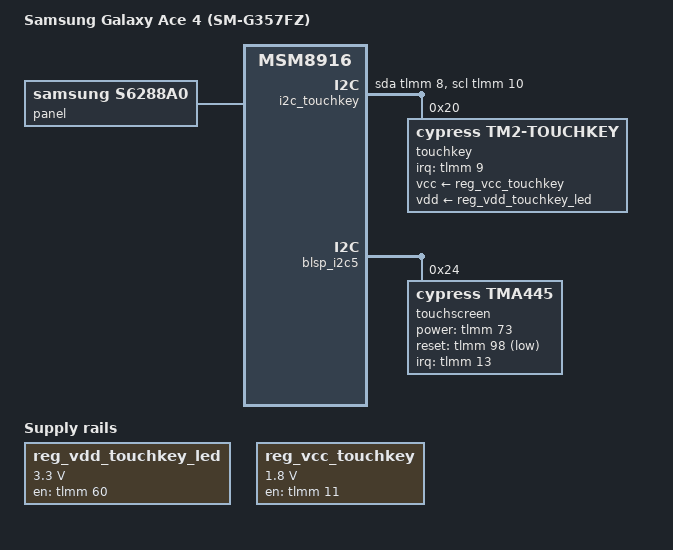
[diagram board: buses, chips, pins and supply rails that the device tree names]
// SPDX-License-Identifier: GPL-2.0-only

/dts-v1/;

#include "msm8916-samsung-cprime-common.dtsi"

/*
 * NOTE: The original firmware from Samsung can only boot ARM32 kernels.
 * Unfortunately, the firmware is signed and cannot be replaced easily.
 * There seems to be no way to boot ARM64 kernels on this device at the moment,
 * even though the hardware would support it.
 *
 * However, it is possible to use this device tree by compiling an ARM32 kernel
 * instead. For clarity and build testing this device tree is maintained next
 * to the other MSM8916 device trees. However, it is actually used through
 * arch/arm/boot/dts/qcom-msm8916-samsung-heatqlte.dts
 */

/ {
	model = "Samsung Galaxy Ace 4 (SM-G357FZ)";
	compatible = "samsung,heatqlte", "qcom,msm8916";
	chassis-type = "handset";

	/delete-node/ regulator-vdd-tsp-a;

	reg_vdd_touchkey_led: regulator-vdd-touchkey-led {
		compatible = "regulator-fixed";
		regulator-name = "vdd_touchkey_led";
		regulator-min-microvolt = <3300000>;
		regulator-max-microvolt = <3300000>;

		gpio = <&tlmm 60 GPIO_ACTIVE_HIGH>;
		enable-active-high;
	};

	reg_vcc_touchkey: regulator-vcc-touchkey {
		compatible = "regulator-fixed";
		regulator-name = "vcc_touchkey";
		regulator-min-microvolt = <1800000>;
		regulator-max-microvolt = <1800000>;

		gpio = <&tlmm 11 GPIO_ACTIVE_HIGH>;
		enable-active-high;
	};

	i2c_touchkey: i2c-touchkey {
		compatible = "i2c-gpio";
		sda-gpios = <&tlmm 8 (GPIO_ACTIVE_HIGH|GPIO_OPEN_DRAIN)>;
		scl-gpios = <&tlmm 10 (GPIO_ACTIVE_HIGH|GPIO_OPEN_DRAIN)>;

		#address-cells = <1>;
		#size-cells = <0>;

		touchkey@20 {
			compatible = "cypress,tm2-touchkey";
			reg = <0x20>;

			interrupt-parent = <&tlmm>;
			interrupts = <9 IRQ_TYPE_EDGE_RISING>;

			vcc-supply = <&reg_vcc_touchkey>;
			vdd-supply = <&reg_vdd_touchkey_led>;

			linux,keycodes = <KEY_APPSELECT KEY_BACK>;
		};
};

};

&battery {
	charge-term-current-microamp = <150000>;
	constant-charge-current-max-microamp = <700000>;
	constant-charge-voltage-max-microvolt = <4350000>;
};

&mpss_mem {
	reg = <0x0 0x86800000 0x0 0x5000000>;
};

&panel {
	compatible = "samsung,s6288a0";
};

&blsp_i2c5 {
	status = "okay";

	touchscreen@24 {
		compatible = "cypress,tma445";
		reg = <0x24>;

		interrupt-parent = <&tlmm>;
		interrupts = <13 IRQ_TYPE_EDGE_FALLING>;

		power-gpios = <&tlmm 73 GPIO_ACTIVE_HIGH>;
		reset-gpios = <&tlmm 98 GPIO_ACTIVE_LOW>;
	};
};
